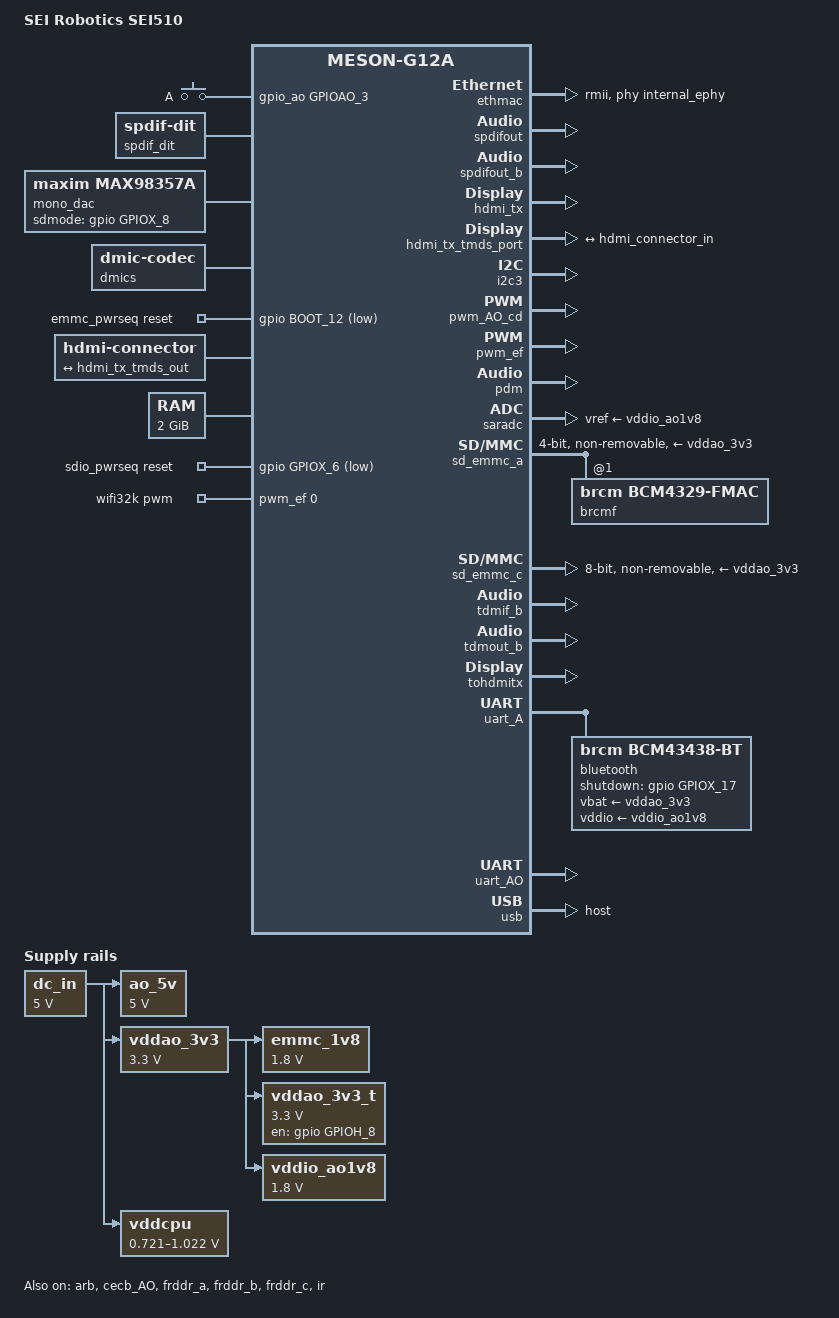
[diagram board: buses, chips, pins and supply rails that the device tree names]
// SPDX-License-Identifier: (GPL-2.0+ OR MIT)
/*
 * Copyright (c) 2019 BayLibre SAS. All rights reserved.
 */

/dts-v1/;

#include "meson-g12a.dtsi"
#include <dt-bindings/gpio/gpio.h>
#include <dt-bindings/input/input.h>
#include <dt-bindings/gpio/meson-g12a-gpio.h>
#include <dt-bindings/sound/meson-g12a-tohdmitx.h>

/ {
	compatible = "seirobotics,sei510", "amlogic,g12a";
	model = "SEI Robotics SEI510";

    firmware {
        optee {
            compatible = "linaro,optee-tz";
            method = "smc";
        };
    };

	gpio-keys-polled {
		compatible = "gpio-keys-polled";
		poll-interval = <100>;

		power-button {
			label = "A";
			linux,code = <BTN_0>;
			gpios = <&gpio_ao GPIOAO_3 GPIO_ACTIVE_HIGH>;
		};
	};

    spdif_dit: audio-codec-2 {
        #sound-dai-cells = <0>;
        compatible = "linux,spdif-dit";
        status = "okay";
        sound-name-prefix = "DIT";
    };

	aliases {
		serial0 = &uart_AO;
		ethernet0 = &ethmac;
	};

	mono_dac: audio-codec-0 {
		compatible = "maxim,max98357a";
		#sound-dai-cells = <0>;
		sound-name-prefix = "U16";
		sdmode-gpios = <&gpio GPIOX_8 GPIO_ACTIVE_HIGH>;
	};

	dmics: audio-codec-1 {
		#sound-dai-cells = <0>;
		compatible = "dmic-codec";
		num-channels = <2>;
		wakeup-delay-ms = <50>;
		sound-name-prefix = "MIC";
	};

	chosen {
		stdout-path = "serial0:115200n8";
	};

	emmc_pwrseq: emmc-pwrseq {
		compatible = "mmc-pwrseq-emmc";
		reset-gpios = <&gpio BOOT_12 GPIO_ACTIVE_LOW>;
	};

	hdmi-connector {
		compatible = "hdmi-connector";
		type = "a";

		port {
			hdmi_connector_in: endpoint {
				remote-endpoint = <&hdmi_tx_tmds_out>;
			};
		};
	};

	memory@0 {
		device_type = "memory";
		reg = <0x0 0x0 0x0 0x80000000>;
	};

	ao_5v: regulator-ao_5v {
		compatible = "regulator-fixed";
		regulator-name = "AO_5V";
		regulator-min-microvolt = <5000000>;
		regulator-max-microvolt = <5000000>;
		vin-supply = <&dc_in>;
		regulator-always-on;
	};

	dc_in: regulator-dc_in {
		compatible = "regulator-fixed";
		regulator-name = "DC_IN";
		regulator-min-microvolt = <5000000>;
		regulator-max-microvolt = <5000000>;
		regulator-always-on;
	};

	emmc_1v8: regulator-emmc_1v8 {
		compatible = "regulator-fixed";
		regulator-name = "EMMC_1V8";
		regulator-min-microvolt = <1800000>;
		regulator-max-microvolt = <1800000>;
		vin-supply = <&vddao_3v3>;
		regulator-always-on;
	};

	vddao_3v3: regulator-vddao_3v3 {
		compatible = "regulator-fixed";
		regulator-name = "VDDAO_3V3";
		regulator-min-microvolt = <3300000>;
		regulator-max-microvolt = <3300000>;
		vin-supply = <&dc_in>;
		regulator-always-on;
	};

	vddao_3v3_t: regultor-vddao_3v3_t {
		compatible = "regulator-fixed";
		regulator-name = "VDDAO_3V3_T";
		regulator-min-microvolt = <3300000>;
		regulator-max-microvolt = <3300000>;
		vin-supply = <&vddao_3v3>;
		gpio = <&gpio GPIOH_8 GPIO_OPEN_DRAIN>;
		enable-active-high;
	};

	vddcpu: regulator-vddcpu {
		/*
		 * SY8120B1ABC DC/DC Regulator.
		 */
		compatible = "pwm-regulator";

		regulator-name = "VDDCPU";
		regulator-min-microvolt = <721000>;
		regulator-max-microvolt = <1022000>;

		pwm-supply = <&dc_in>;

		pwms = <&pwm_AO_cd 1 1250 0>;
		pwm-dutycycle-range = <100 0>;

		regulator-boot-on;
		regulator-always-on;
	};

	vddio_ao1v8: regulator-vddio_ao1v8 {
		compatible = "regulator-fixed";
		regulator-name = "VDDIO_AO1V8";
		regulator-min-microvolt = <1800000>;
		regulator-max-microvolt = <1800000>;
		vin-supply = <&vddao_3v3>;
		regulator-always-on;
	};

	sdio_pwrseq: sdio-pwrseq {
		compatible = "mmc-pwrseq-simple";
		reset-gpios = <&gpio GPIOX_6 GPIO_ACTIVE_LOW>;
		clocks = <&wifi32k>;
		clock-names = "ext_clock";
	};

	wifi32k: wifi32k {
		compatible = "pwm-clock";
		#clock-cells = <0>;
		clock-frequency = <32768>;
		pwms = <&pwm_ef 0 30518 0>; /* PWM_E at 32.768KHz */
	};

	sound {
		compatible = "amlogic,axg-sound-card";
		model = "SEI510";
		audio-aux-devs = <&tdmout_b>;
        audio-routing = "TDMOUT_B IN 0", "FRDDR_A OUT 1",
                "TDMOUT_B IN 1", "FRDDR_B OUT 1",
                "TDMOUT_B IN 2", "FRDDR_C OUT 1",
                "TDM_B Playback", "TDMOUT_B OUT",
                "SPDIFOUT IN 0", "FRDDR_A OUT 3",
                "SPDIFOUT IN 1", "FRDDR_B OUT 3",
                "SPDIFOUT IN 2", "FRDDR_C OUT 3";

		assigned-clocks = <&clkc CLKID_MPLL2>,
				  <&clkc CLKID_MPLL0>,
				  <&clkc CLKID_MPLL1>;
		assigned-clock-parents = <0>, <0>, <0>;
		assigned-clock-rates = <294912000>,
				       <270950400>,
				       <393216000>;

		dai-link-0 {
			sound-dai = <&frddr_a>;
		};

		dai-link-1 {
			sound-dai = <&frddr_b>;
		};

		dai-link-2 {
			sound-dai = <&frddr_c>;
		};

        /* 8ch hdmi interface */
        dai-link-3 {
            sound-dai = <&tdmif_b>;
            dai-format = "i2s";
            dai-tdm-slot-tx-mask-0 = <1 1>;
            dai-tdm-slot-tx-mask-1 = <1 1>;
            dai-tdm-slot-tx-mask-2 = <1 1>;
            dai-tdm-slot-tx-mask-3 = <1 1>;
            mclk-fs = <256>;

            codec {
                sound-dai = <&tohdmitx TOHDMITX_I2S_IN_B>;
            };
        };

        /* spdif hdmi or toslink interface */
        dai-link-4 {
            sound-dai = <&spdifout>;

            codec-0 {
                sound-dai = <&spdif_dit>;
            };

            codec-1 {
                sound-dai = <&tohdmitx TOHDMITX_SPDIF_IN_A>;
            };
        };

        /* spdif hdmi interface */
        dai-link-5 {
            sound-dai = <&spdifout_b>;

            codec {
                sound-dai = <&tohdmitx TOHDMITX_SPDIF_IN_B>;
            };
        };

        /* hdmi glue */
        dai-link-6 {
            sound-dai = <&tohdmitx TOHDMITX_I2S_OUT>;

            codec {
                sound-dai = <&hdmi_tx>;
            };
        };
	};
};

&arb {
	status = "okay";
};

&cec_AO {
	pinctrl-0 = <&cec_ao_a_h_pins>;
	pinctrl-names = "default";
	status = "disabled";
	hdmi-phandle = <&hdmi_tx>;
};

&cecb_AO {
	pinctrl-0 = <&cec_ao_b_h_pins>;
	pinctrl-names = "default";
	status = "okay";
	hdmi-phandle = <&hdmi_tx>;
};

&clkc_audio {
	status = "okay";
};

&cpu0 {
	cpu-supply = <&vddcpu>;
	operating-points-v2 = <&cpu_opp_table>;
	clocks = <&clkc CLKID_CPU_CLK>;
	clock-latency = <50000>;
};

&cpu1 {
	cpu-supply = <&vddcpu>;
	operating-points-v2 = <&cpu_opp_table>;
	clocks = <&clkc CLKID_CPU_CLK>;
	clock-latency = <50000>;
};

&cpu2 {
	cpu-supply = <&vddcpu>;
	operating-points-v2 = <&cpu_opp_table>;
	clocks = <&clkc CLKID_CPU_CLK>;
	clock-latency = <50000>;
};

&cpu3 {
	cpu-supply = <&vddcpu>;
	operating-points-v2 = <&cpu_opp_table>;
	clocks = <&clkc CLKID_CPU_CLK>;
	clock-latency = <50000>;
};

/*&cvbs_vdac_port {
	cvbs_vdac_out: endpoint {
		remote-endpoint = <&cvbs_connector_in>;
	};
};*/

&ethmac {
	status = "okay";
	phy-handle = <&internal_ephy>;
	phy-mode = "rmii";
};

&frddr_a {
	status = "okay";
};

&frddr_b {
	status = "okay";
};

&frddr_c {
	status = "okay";
};

&spdifout {
    pinctrl-0 = <&spdif_out_h_pins>;
    pinctrl-names = "default";
    status = "okay";
};

&spdifout_b {
    status = "okay";
};

&hdmi_tx {
	status = "okay";
	pinctrl-0 = <&hdmitx_hpd_pins>, <&hdmitx_ddc_pins>;
	pinctrl-names = "default";
};

&hdmi_tx_tmds_port {
	hdmi_tx_tmds_out: endpoint {
		remote-endpoint = <&hdmi_connector_in>;
	};
};

&i2c3 {
	status = "okay";
	pinctrl-0 = <&i2c3_sda_a_pins>, <&i2c3_sck_a_pins>;
	pinctrl-names = "default";
};

&ir {
	status = "okay";
	pinctrl-0 = <&remote_input_ao_pins>;
	pinctrl-names = "default";
};

&pwm_AO_cd {
	pinctrl-0 = <&pwm_ao_d_e_pins>;
	pinctrl-names = "default";
	clocks = <&xtal>;
	clock-names = "clkin1";
	status = "okay";
};

&pwm_ef {
	status = "okay";
	pinctrl-0 = <&pwm_e_pins>;
	pinctrl-names = "default";
	clocks = <&xtal>;
	clock-names = "clkin0";
};

&pdm {
	pinctrl-0 = <&pdm_din0_z_pins>, <&pdm_din1_z_pins>,
		    <&pdm_din2_z_pins>, <&pdm_din3_z_pins>,
		    <&pdm_dclk_z_pins>;
	pinctrl-names = "default";
	status = "okay";
};

&saradc {
	status = "okay";
	vref-supply = <&vddio_ao1v8>;
};

/* SDIO */
&sd_emmc_a {
	status = "okay";
	pinctrl-0 = <&sdio_pins>;
	pinctrl-1 = <&sdio_clk_gate_pins>;
	pinctrl-names = "default", "clk-gate";
	#address-cells = <1>;
	#size-cells = <0>;

	bus-width = <4>;
	cap-sd-highspeed;
	sd-uhs-sdr50;
	max-frequency = <100000000>;

	non-removable;
	disable-wp;

	/* WiFi firmware requires power to be kept while in suspend */
	keep-power-in-suspend;

	mmc-pwrseq = <&sdio_pwrseq>;

	vmmc-supply = <&vddao_3v3>;
	vqmmc-supply = <&vddio_ao1v8>;

	brcmf: wifi@1 {
		reg = <1>;
		compatible = "brcm,bcm4329-fmac";
	};
};

/* SD card */
// Disabled because we have serial port over sdcard
/*&sd_emmc_b {
	status = "okay";
	pinctrl-0 = <&sdcard_c_pins>;
	pinctrl-1 = <&sdcard_clk_gate_c_pins>;
	pinctrl-names = "default", "clk-gate";

	bus-width = <4>;
	cap-sd-highspeed;
	max-frequency = <50000000>;
	disable-wp;

	cd-gpios = <&gpio GPIOC_6 GPIO_ACTIVE_LOW>;
	vmmc-supply = <&vddao_3v3>;
	vqmmc-supply = <&vddao_3v3>;
};*/

/* eMMC */
&sd_emmc_c {
	status = "okay";
	pinctrl-0 = <&emmc_ctrl_pins>, <&emmc_data_8b_pins>, <&emmc_ds_pins>;
	pinctrl-1 = <&emmc_clk_gate_pins>;
	pinctrl-names = "default", "clk-gate";

	bus-width = <8>;
	cap-mmc-highspeed;
	mmc-ddr-1_8v;
	mmc-hs200-1_8v;
	max-frequency = <200000000>;
	non-removable;
	disable-wp;

	mmc-pwrseq = <&emmc_pwrseq>;
	vmmc-supply = <&vddao_3v3>;
	vqmmc-supply = <&emmc_1v8>;
};

&tdmif_b {
	status = "okay";
};

&tdmout_b {
	status = "okay";
};

&tohdmitx {
	status = "okay";
};

&uart_A {
	status = "okay";
	pinctrl-0 = <&uart_a_pins>, <&uart_a_cts_rts_pins>;
	pinctrl-names = "default";
	uart-has-rtscts;

	bluetooth {
		compatible = "brcm,bcm43438-bt";
		shutdown-gpios = <&gpio GPIOX_17 GPIO_ACTIVE_HIGH>;
		max-speed = <2000000>;
		clocks = <&wifi32k>;
		clock-names = "lpo";
		vbat-supply = <&vddao_3v3>;
		vddio-supply = <&vddio_ao1v8>;
	};
};

&uart_AO {
	status = "okay";
	pinctrl-0 = <&uart_ao_a_c_pins>;
	pinctrl-names = "default";
};

&usb {
	status = "okay";
	dr_mode = "host";
};

/ {
    partitions: partitions{
        parts = <15>;
        part-0 = <&logo>;
        part-1 = <&recovery>;
        part-2 = <&misc>;
        part-3 = <&dtbo>;
        part-4 = <&cri_data>;
        part-5 = <&param>;
        part-6 = <&boot>;
        part-7 = <&rsv>;
        part-8 = <&metadata>;
        part-9 = <&vbmeta>;
        part-10 = <&tee>;
        part-11 = <&factory>;
        part-12 = <&super>;
        part-13 = <&cache>;
        part-14 = <&data>;

        logo:logo{
            pname = "logo";
            size = <0x0 0x800000>;
            mask = <1>;
        };
        recovery:recovery{
            pname = "recovery";
            size = <0x0 0x1800000>;
            mask = <1>;
        };
        misc:misc{
            pname = "misc";
            size = <0x0 0x800000>;
            mask = <1>;
        };
        dtbo:dtbo{
            pname = "dtbo";
            size = <0x0 0x800000>;
            mask = <1>;
        };
        cri_data:cri_data
        {
            pname = "cri_data";
            size = <0x0 0x800000>;
            mask = <2>;
        };
        param:param{
            pname = "param";
            size = <0x0 0x1000000>;
            mask = <2>;
        };
        boot:boot
        {
            pname = "boot";
            size = <0x0 0x1000000>;
            mask = <1>;
        };
        rsv:rsv{
            pname = "rsv";
            size = <0x0 0x1000000>;
            mask = <1>;
        };
        metadata:metadata{
            pname = "metadata";
            size = <0x0 0x1000000>;
            mask = <1>;
        };
        vbmeta:vbmeta{
            pname = "vbmeta";
            size = <0x0 0x200000>;
            mask = <1>;
        };
        tee:tee{
            pname = "tee";
            size = <0x0 0x2000000>;
            mask = <1>;
        };
        factory:factory{
            pname = "factory";
            size = <0x0 0x800000>;
            mask = <0x11>;
        };
        super:super
        {
            pname = "super";
            size = <0x0 0xA0800000>;
            mask = <1>;
        };
        cache:cache
        {
            pname = "cache";
            size = <0x0 0x26000000>;
            mask = <2>;
        };
        data:data
        {
            pname = "data";
            size = <0xffffffff 0xffffffff>;
            mask = <4>;
        };
    };

	unifykey{
		compatible = "amlogic, unifykey";
		status = "ok";
		unifykey-num = <49>;
		unifykey-index-0 = <&keysn_0>;
		unifykey-index-1 = <&keysn_1>;
		unifykey-index-2 = <&keysn_2>;
		unifykey-index-3 = <&keysn_3>;
		unifykey-index-4 = <&keysn_4>;
		unifykey-index-5 = <&keysn_5>;
		unifykey-index-6 = <&keysn_6>;
		unifykey-index-7 = <&keysn_7>;
		unifykey-index-8 = <&keysn_8>;
		unifykey-index-9 = <&keysn_9>;
		unifykey-index-10= <&keysn_10>;
		unifykey-index-11= <&keysn_11>;
		unifykey-index-12= <&keysn_12>;
		unifykey-index-13= <&keysn_13>;
		unifykey-index-14= <&keysn_14>;
		unifykey-index-15= <&keysn_15>;
		unifykey-index-16= <&keysn_16>;
		unifykey-index-17= <&keysn_17>;
		unifykey-index-18= <&keysn_18>;
		unifykey-index-19= <&keysn_19>;
		unifykey-index-20= <&keysn_20>;
		unifykey-index-21= <&keysn_21>;
		unifykey-index-22= <&keysn_22>;
		unifykey-index-23= <&keysn_23>;
		unifykey-index-24= <&keysn_24>;
		unifykey-index-25= <&keysn_25>;
		unifykey-index-26= <&keysn_26>;
		unifykey-index-27= <&keysn_27>;
		unifykey-index-28= <&keysn_28>;
		unifykey-index-29= <&keysn_29>;
		unifykey-index-30= <&keysn_30>;
		unifykey-index-31= <&keysn_31>;
		unifykey-index-32= <&keysn_32>;
		unifykey-index-33= <&keysn_33>;
		unifykey-index-34= <&keysn_34>;
		unifykey-index-35= <&keysn_35>;
		unifykey-index-36= <&keysn_36>;
		unifykey-index-37= <&keysn_37>;
		unifykey-index-38= <&keysn_38>;
		unifykey-index-39= <&keysn_39>;
		unifykey-index-40= <&keysn_40>;
		unifykey-index-41= <&keysn_41>;
		unifykey-index-42= <&keysn_42>;
		unifykey-index-43= <&keysn_43>;
		unifykey-index-44= <&keysn_44>;
		unifykey-index-45= <&keysn_45>;
		unifykey-index-46= <&keysn_46>;
		unifykey-index-47= <&keysn_47>;
		unifykey-index-48= <&keysn_48>;

		keysn_0: key_0{
			key-name = "usid";
			key-device = "normal";
			key-permit = "read","write","del";
		};
		keysn_1:key_1{
			key-name = "mac";
			key-device = "normal";
			key-permit = "read","write","del";
		};
		keysn_2:key_2{
			key-name = "hdcp";
			key-device = "secure";
			key-type = "sha1";
			key-permit = "read","write","del";
		};
		keysn_3:key_3{
			key-name = "secure_boot_set";
			key-device = "efuse";
			key-permit = "write";
		};
		keysn_4:key_4{
			key-name = "mac_bt";
			key-device = "normal";
			key-permit = "read","write","del";
			key-type  = "mac";
		};
		keysn_5:key_5{
			key-name = "mac_wifi";
			key-device = "normal";
			key-permit = "read","write","del";
			key-type = "mac";
		};
		keysn_6:key_6{
			key-name = "hdcp2_tx";
			key-device = "normal";
			key-permit = "read","write","del";
		};
		keysn_7:key_7{
			key-name = "hdcp2_rx";
			key-device = "normal";
			key-permit = "read","write","del";
		};
		keysn_8:key_8{
			key-name = "widevinekeybox";
			key-device = "secure";
			key-permit = "read","write","del";
		};
		keysn_9:key_9{
			key-name = "deviceid";
			key-device = "normal";
			key-permit = "read","write","del";
		};
		keysn_10:key_10{
			key-name = "hdcp22_fw_private";
			key-device = "secure";
			key-permit = "read","write","del";
		};
		keysn_11:key_11{
			key-name = "PlayReadykeybox25";
			key-device = "secure";
			key-permit = "read","write","del";
		};
		keysn_12:key_12{
			key-name = "prpubkeybox";// PlayReady
			key-device = "secure";
			key-permit = "read","write","del";
		};
		keysn_13:key_13{
			key-name = "prprivkeybox";// PlayReady
			key-device = "secure";
			key-permit = "read","write","del";
		};
		keysn_14:key_14{
			key-name = "attestationkeybox";// attestation key
			key-device = "secure";
			key-permit = "read","write","del";
		};
		keysn_15:key_15{
			key-name = "region_code";
			key-device = "normal";
			key-permit = "read","write","del";
		};
		keysn_16:key_16{
			key-name = "netflix_mgkid";
			key-device = "secure";
			key-permit = "read","write","del";
		};
		keysn_17:key_17{
			key-name = "attestationdevidbox";// attest dev id box
			key-device = "secure";
			key-permit = "read","write","del";
		};
		keysn_18:key_18{
			key-name = "oemkey";
			key-device = "normal";
			key-permit = "read","write","del";
		};
		keysn_19:key_19{
			key-name = "KEY_WIDEVINE";
			key-device = "provision";
			key-permit = "read","write","del";
		};
		keysn_20:key_20{
			key-name = "KEY_PLAYREADY_PRIVATE";
			key-device = "provision";
			key-permit = "read","write","del";
		};
		keysn_21:key_21{
			key-name = "KEY_PLAYREADY_PUBLIC";
			key-device = "provision";
			key-permit = "read","write","del";
		};
		keysn_22:key_22{
			key-name = "KEY_HDCP_TX14";
			key-device = "provision";
			key-permit = "read","write","del";
		};
		keysn_23:key_23{
			key-name = "KEY_HDCP_TX22";
			key-device = "provision";
			key-permit = "read","write","del";
		};
		keysn_24:key_24{
			key-name = "KEY_HDCP_RX14";
			key-device = "provision";
			key-permit = "read","write","del";
		};
		keysn_25:key_25{
			key-name = "KEY_HDCP_RX22";
			key-device = "provision";
			key-permit = "read","write","del";
		};
		keysn_26:key_26{
			key-name = "KEY_HDCP_RX22_FW";
			key-device = "provision";
			key-permit = "read","write","del";
		};
		keysn_27:key_27{
			key-name = "KEY_HDCP_RX22_FW_PRIVATE";
			key-device = "provision";
			key-permit = "read","write","del";
		};
		keysn_28:key_28{
			key-name = "KEY_KEYMASTER3";
			key-device = "provision";
			key-permit = "read","write","del";
		};
		keysn_29:key_29{
			key-name = "PROVISION_FIELD_ID";
			key-device = "provision";
			key-permit = "read","write","del";
		};
		keysn_30:key_30{
			key-name = "PROVISION_FIELD_PROTECT_KEY";
			key-device = "provision";
			key-permit = "read","write","del";
		};
		keysn_31:key_31{
			key-name = "UUID";
			key-device = "normal";
			key-permit = "read","write","del";
		};
		keysn_32:key_32{
			key-name = "SERIALNO";
			key-device = "normal";
			key-permit = "read","write","del";
		};
		keysn_33:key_33{
			key-name = "OrderId";
			key-device = "normal";
			key-permit = "read","write","del";
		};
		keysn_34:key_34{
			key-name = "DID";
			key-device = "normal";
			key-permit = "read","write","del";
		};
		keysn_35:key_35{
			key-name = "hdcp2lc128";
			key-device = "normal";
			key-permit = "read","write","del";
		};
		keysn_36:key_36{
			key-name = "hdcp2key";
			key-device = "normal";
			key-permit = "read","write","del";
		};
		keysn_37:key_37{
			key-name = "wmac";
			key-device = "normal";
			key-permit = "read","write","del";
		};
		keysn_38:key_38{
			key-name = "skywaykey";
			key-device = "normal";
			key-permit = "read","write","del";
		};
		keysn_39:key_39{
			key-name = "IOT_CERT";
			key-device = "normal";
			key-permit = "read","write","del";
		};
		keysn_40:key_40{
			key-name = "fbxserial";
			key-device = "normal";
			key-permit = "read","write","del";
		};
		keysn_41:key_41{
			key-name = "IOT_PRIV";
			key-device = "normal";
			key-permit = "read","write","del";
		};
		keysn_42:key_42{
			key-name = "sboxid";
			key-device = "normal";
			key-permit = "read","write","del";
		};
		keysn_43:key_43{
			key-name = "ssn";
			key-device = "normal";
			key-permit = "read","write","del";
		};
		keysn_44:key_44{
			key-name = "oem";
			key-device = "normal";
			key-permit = "read","write","del";
        };
		keysn_45:key_45{
			key-name = "copyright";
			key-device = "normal";
			key-permit = "read","write","del";
		};
		keysn_46:key_46{
			key-name = "amlogic_set";
			key-device = "efuse";
			key-permit = "write";
		};
		keysn_47:key_47{
			key-name = "OTP";
			key-device = "normal";
			key-permit = "read","write","del";
		};
		keysn_48:key_48{
		    key-name = "sei_rpmb_state";
			key-device = "normal";
			key-permit = "read","write","del";
		};
	};
    efusekey:efusekey{
        keynum = <4>;
        key0 = <&key_0>;
        key1 = <&key_1>;
        key2 = <&key_2>;
        key3 = <&key_3>;
        key_0:key_0{
            keyname = "mac";
            offset = <0>;
            size = <6>;
        };
        key_1:key_1{
            keyname = "mac_bt";
            offset = <6>;
            size = <6>;
        };
        key_2:key_2{
            keyname = "mac_wifi";
            offset = <12>;
            size = <6>;
        };
        key_3:key_3{
            keyname = "usid";
            offset = <18>;
            size = <16>;
        };
    };

};
